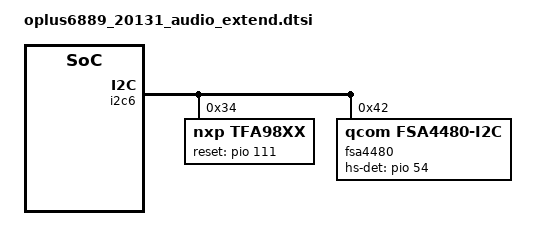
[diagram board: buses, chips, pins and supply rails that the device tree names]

&audio_extend {
	//for nxp speaker
	oplus,speaker-vendor = "nxp";
	oplus,speaker-i2s-id = <3>;
        oplus,speaker-i2s-id-in = <0>;
	oplus,speaker-codec-name = "tfa98xx.6-0034";
	oplus,speaker-codec-dai-name = "tfa98xx-aif-6-34";
};

&i2c6 {
	tfa98xx: tfa98xx@34 {
		compatible = "nxp,tfa98xx";
		reg = <0x34>;
		reset-gpio = <&pio 111 0>;
		status = "okay";
	};
};

//#ifdef OPLUS_ARCH_EXTENDS
&i2c6 {
	fsa4480: fsa4480@42 {
		compatible = "qcom,fsa4480-i2c";
		reg = <0x42>;
		pinctrl-names = "default";
		pinctrl-0 = <&fsa_hs_det>;
		fsa4480,hs-det-gpio = <&pio 54 0>;
	};
};

&pio {
	fsa_hs_det: fsa_hs_det {
		pins_cmd_dat {
			pinmux = <PINMUX_GPIO54__FUNC_GPIO54>;
			slew-rate = <1>;  /*direction 0:in, 1:out*/
			output-high;
		};
	};
	/*
	aud_gpio_i2s0_on: aud_gpio_i2s0_on {
		pins_cmd1_dat {
			pinmux = <PINMUX_GPIO34__FUNC_I2S3_DI>;
		};
	};*/
};
//#endif /*OPLUS_ARCH_EXTENDS*/
